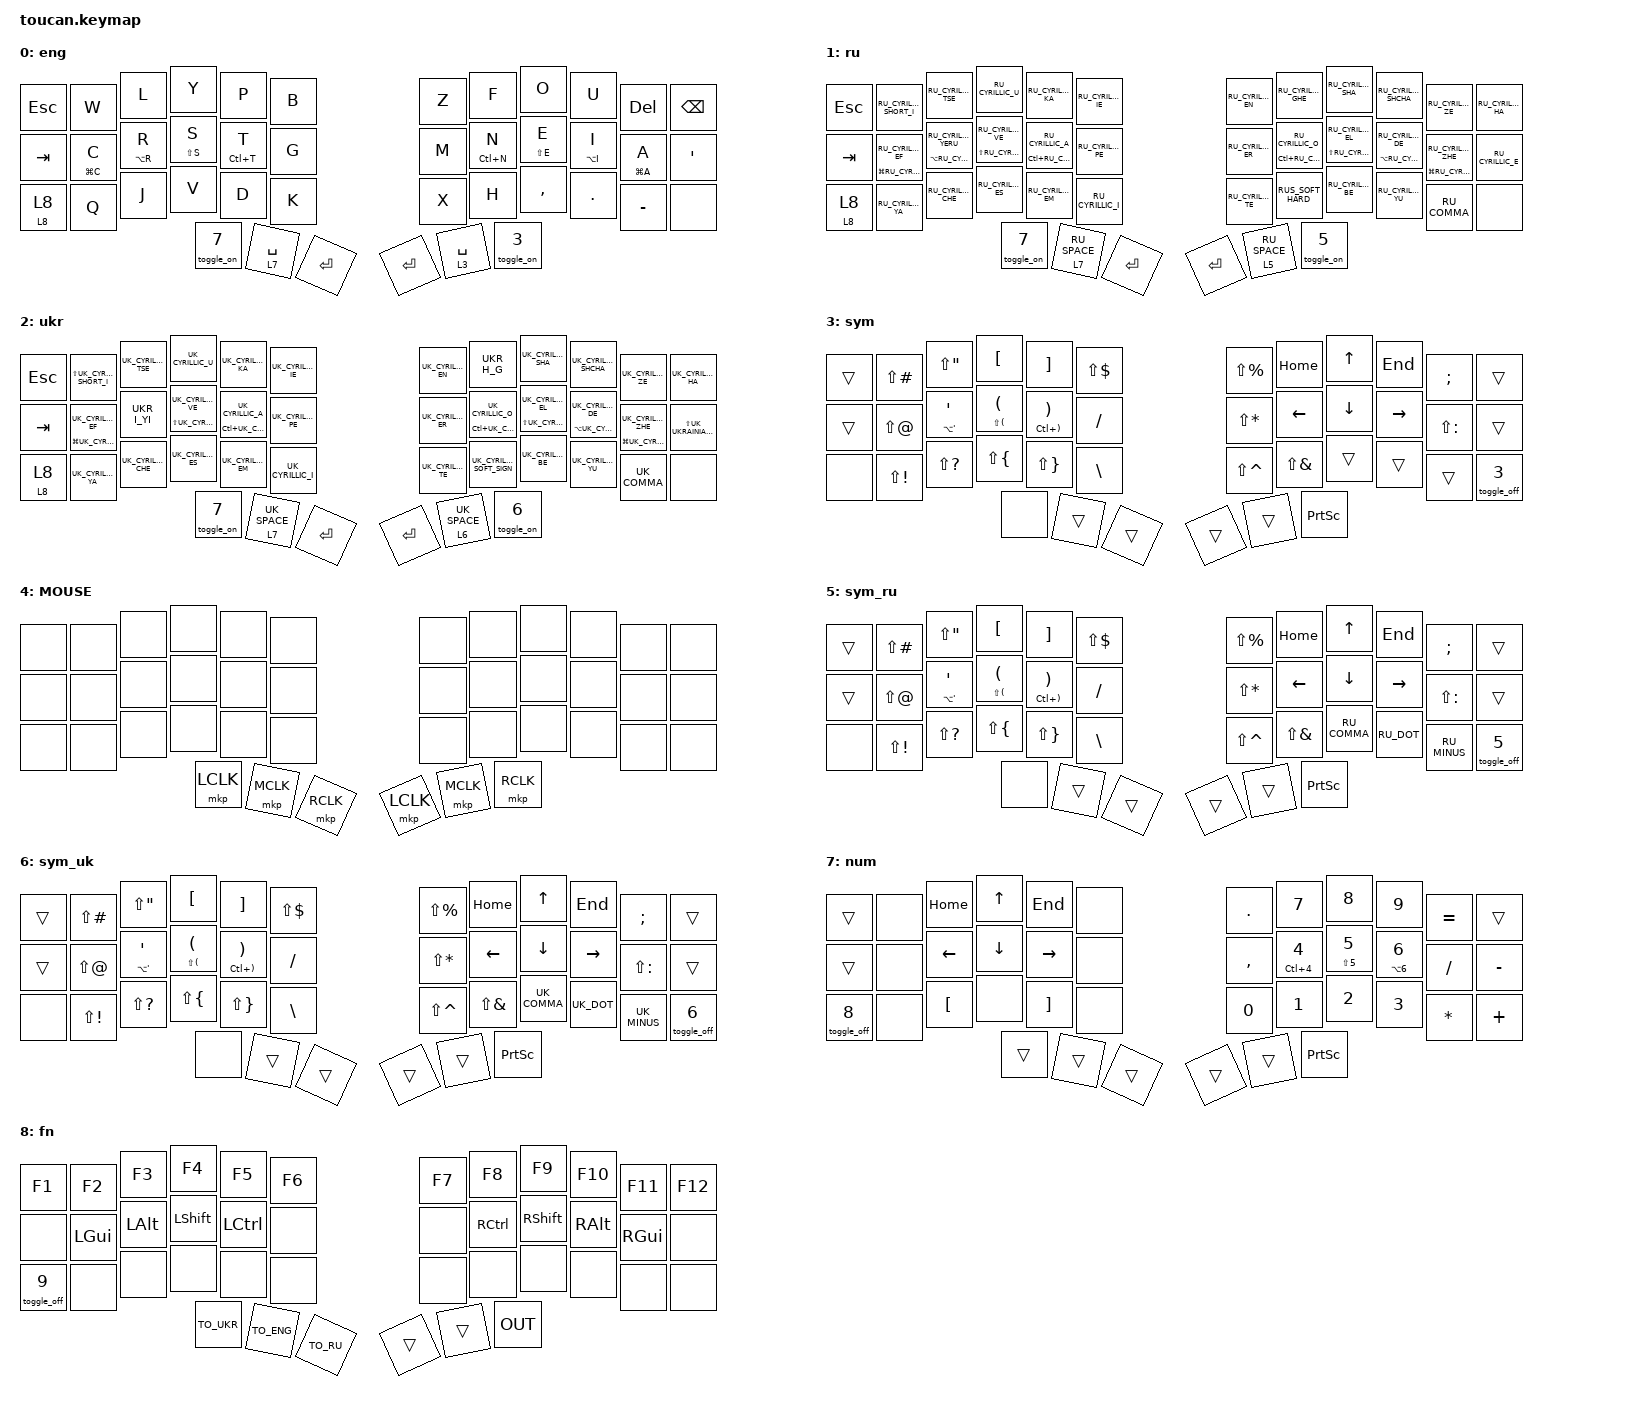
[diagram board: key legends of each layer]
#include <behaviors.dtsi>
#include <dt-bindings/zmk/keys.h>
#include <dt-bindings/zmk/pointing.h>
#include "keys_ru.h"
#include "keys_uk.h"

#define ENG 0
#define RU 1
#define UKR 2
#define SYM 3
#define MOUSE 4
#define SYM_RU 5
#define SYM_UK 6
#define NUM 7
#define FN 8

/ {
    conditional_layers { compatible = "zmk,conditional-layers"; };

    macros {
        TO_ENG: TO_ENG {
            compatible = "zmk,behavior-macro";
            #binding-cells = <0>;
            bindings =
                <&macro_press>,
                <&kp LA(LS(NUMBER_1))>,
                <&macro_release>,
                <&to 0>;

            label = "TO_ENG";
        };

        TO_RU: TO_RU {
            compatible = "zmk,behavior-macro";
            #binding-cells = <0>;
            bindings =
                <&macro_press>,
                <&kp LA(LS(NUMBER_2))>,
                <&macro_release>,
                <&to 1>;

            label = "TO_RU";
        };

        TO_UKR: TO_UKR {
            compatible = "zmk,behavior-macro";
            #binding-cells = <0>;
            bindings =
                <&macro_press>,
                <&kp LA(LS(N3))>,
                <&macro_release>,
                <&to 2>;

            label = "TO_UKR";
        };

        PASS: PASS {
            compatible = "zmk,behavior-macro";
            #binding-cells = <0>;
            bindings = <&macro_press>, <&kp LC(LA(Z))>, <&macro_release>;

            label = "PASS";
        };

        CLIPBOARD: clipboard {
            compatible = "zmk,behavior-macro";
            #binding-cells = <0>;
            bindings = <&macro_press>, <&kp LG(V)>;

            label = "CLIPBOARD";
        };

        COPY_: COPY_ {
            compatible = "zmk,behavior-macro";
            #binding-cells = <0>;
            bindings = <&kp LC(C)>;
            label = "COPY_";
        };

        PASTE: PASTE {
            compatible = "zmk,behavior-macro";
            #binding-cells = <0>;
            bindings = <&kp LC(V)>;
            label = "PASTE";
        };

        CUT_: CUT_ {
            compatible = "zmk,behavior-macro";
            #binding-cells = <0>;
            bindings = <&kp LC(X)>;
            label = "CUT_";
        };

        SELECT_ALL: SELECT_ALL {
            compatible = "zmk,behavior-macro";
            #binding-cells = <0>;
            bindings = <&kp LC(A)>;
            label = "SELECT_ALL";
        };

        SAVE: SAVE {
            compatible = "zmk,behavior-macro";
            #binding-cells = <0>;
            bindings = <&kp LC(S)>;
            label = "SAVE";
        };

        UNDO_: UNDO_ {
            compatible = "zmk,behavior-macro";
            #binding-cells = <0>;
            bindings = <&kp LC(Z)>;
            label = "UNDO_";
        };

        REDO: REDO {
            compatible = "zmk,behavior-macro";
            #binding-cells = <0>;
            bindings = <&kp LC(Y)>;
            label = "REDO";
        };

        FIND: FIND {
            compatible = "zmk,behavior-macro";
            #binding-cells = <0>;
            bindings = <&kp LC(F)>;
            label = "FIND";
        };
    };

    behaviors {
        UKR_I_YI: UKR_I_YI {
            compatible = "zmk,behavior-tap-dance";
            label = "UKR_I_YI";
            #binding-cells = <0>;
            bindings =
                <&mt LA(UK_UKRAINIAN_I) UK_UKRAINIAN_I>,
                <&kp UK_CYRILLIC_YI>;
        };

        UKR_H_G: UKR_H_G {
            compatible = "zmk,behavior-tap-dance";
            label = "UKR_H_G";
            #binding-cells = <0>;
            bindings = <&kp LS(UK_CYRILLIC_GHE)>, <&kp UK_CYRILLIC_GHE_UPTURN>;
        };

        RUS_SOFT_HARD: RUS_SOFT_HARD {
            compatible = "zmk,behavior-tap-dance";
            label = "RUS_SOFT_HARD";
            #binding-cells = <0>;
            bindings = <&kp RU_CYRILLIC_SOFT_SIGN>, <&kp RU_CYRILLIC_HARD_SIGN>;
        };

        toggle_on: toggle_on {
            compatible = "zmk,behavior-toggle-layer";
            label = "TOGGLE_ON";
            #binding-cells = <1>;
        };

        to_fn: to_fn {
            compatible = "zmk,behavior-hold-tap";
            label = "TO_FN";
            bindings = <&mo>, <&sl>;

            #binding-cells = <2>;
            tapping-term-ms = <200>;
        };

        toggle_off: toggle_off {
            compatible = "zmk,behavior-toggle-layer";
            label = "TOGGLE_OFF";
            #binding-cells = <1>;
            toggle-mode = "off";
        };
    };

    combos {
        compatible = "zmk,combos";

        combo_cyrillic_bspc {
            bindings = <&kp BSPC>;
            key-positions = <10 11>;
            layers = <1 2>;
        };

        combo_caps {
            bindings = <&caps_word>;
            key-positions = <15 20>;
            layers = <0 2 1>;
        };

        combo_password {
            bindings = <&PASS>;
            key-positions = <3 2>;
        };

        combo_clipboard {
            bindings = <&CLIPBOARD>;
            key-positions = <1 2>;
        };

        combo_pipe {
            bindings = <&kp PIPE>;
            key-positions = <29 17>;
            layers = <3>;
        };

        combo_copy {
            bindings = <&kp K_COPY>;
            key-positions = <16 15>;
            layers = <0 2 1>;
        };

        combo_paste {
            bindings = <&PASTE>;
            key-positions = <16 27>;
            layers = <0 2 1>;
        };

        combo_cut {
            bindings = <&kp K_CUT>;
            key-positions = <16 14>;
            layers = <0 1 2>;
        };

        combo_select_all {
            bindings = <&SELECT_ALL>;
            key-positions = <16 13>;
            layers = <0 2 1>;
        };

        combo_save {
            bindings = <&SAVE>;
            key-positions = <16 3>;
            layers = <0 1 2>;
        };

        combo_find {
            bindings = <&FIND>;
            key-positions = <16 2>;
            layers = <0 1 2>;
        };

        combo_undo {
            bindings = <&kp K_UNDO>;
            key-positions = <16 25>;
            layers = <0 1 2>;
        };

        combo_redo {
            bindings = <&REDO>;
            key-positions = <16 5>;
            layers = <0 1 2>;
        };
    };

    keymap {
        compatible = "zmk,keymap";

        eng {
            bindings = <
&kp ESC  &kp W  &kp L  &kp Y  &kp P  &kp B  &kp Z  &kp F  &kp O  &kp U  &kp DEL  &kp BSPC  &kp TAB  &mt LG(C) C  &mt LA(R) R  &mt LS(S) S  &mt LC(T) T  &kp G  &kp M  &mt LC(N) N  &mt LS(E) E  &mt LA(I) I  &mt LG(A) A  &kp SQT  &to_fn 8 8  &kp Q  &kp J  &kp V  &kp D  &kp K  &kp X  &kp H  &kp COMMA  &kp DOT  &kp MINUS  &none  &toggle_on 7  &lt 7 SPACE  &kp ENTER  &kp ENTER  &lt 3 SPACE  &toggle_on 3
            >;
        };

        ru {
            bindings = <
&kp ESC  &kp RU_CYRILLIC_SHORT_I  &kp RU_CYRILLIC_TSE  &kp RU_CYRILLIC_U  &kp RU_CYRILLIC_KA  &kp RU_CYRILLIC_IE  &kp RU_CYRILLIC_EN  &kp RU_CYRILLIC_GHE  &kp RU_CYRILLIC_SHA  &kp RU_CYRILLIC_SHCHA  &kp RU_CYRILLIC_ZE  &kp RU_CYRILLIC_HA  &kp TAB  &mt LG(RU_CYRILLIC_EF) RU_CYRILLIC_EF  &mt LA(RU_CYRILLIC_YERU) RU_CYRILLIC_YERU  &mt LS(RU_CYRILLIC_VE) RU_CYRILLIC_VE  &mt LC(RU_CYRILLIC_A) RU_CYRILLIC_A  &kp RU_CYRILLIC_PE  &kp RU_CYRILLIC_ER  &mt LC(RU_CYRILLIC_O) RU_CYRILLIC_O  &mt LS(RU_CYRILLIC_EL) RU_CYRILLIC_EL  &mt LA(RU_CYRILLIC_DE) RU_CYRILLIC_DE  &mt LG(RU_CYRILLIC_ZHE) RU_CYRILLIC_ZHE  &kp RU_CYRILLIC_E  &to_fn 8 8  &kp RU_CYRILLIC_YA  &kp RU_CYRILLIC_CHE  &kp RU_CYRILLIC_ES  &kp RU_CYRILLIC_EM  &kp RU_CYRILLIC_I  &kp RU_CYRILLIC_TE  &RUS_SOFT_HARD  &kp RU_CYRILLIC_BE  &kp RU_CYRILLIC_YU  &kp RU_COMMA  &none  &toggle_on 7  &lt 7 RU_SPACE  &kp ENTER  &kp ENTER  &lt 5 RU_SPACE  &toggle_on 5
            >;
        };

        ukr {
            bindings = <
&kp ESC  &kp LS(UK_CYRILLIC_SHORT_I)  &kp UK_CYRILLIC_TSE  &kp UK_CYRILLIC_U  &kp UK_CYRILLIC_KA  &kp UK_CYRILLIC_IE  &kp UK_CYRILLIC_EN  &UKR_H_G  &kp UK_CYRILLIC_SHA  &kp UK_CYRILLIC_SHCHA  &kp UK_CYRILLIC_ZE  &kp UK_CYRILLIC_HA  &kp TAB  &mt LG(UK_CYRILLIC_EF) UK_CYRILLIC_EF  &UKR_I_YI  &mt LS(UK_CYRILLIC_VE) UK_CYRILLIC_VE  &mt LC(UK_CYRILLIC_A) UK_CYRILLIC_A  &kp UK_CYRILLIC_PE  &kp UK_CYRILLIC_ER  &mt LC(UK_CYRILLIC_O) UK_CYRILLIC_O  &mt LS(UK_CYRILLIC_EL) UK_CYRILLIC_EL  &mt LA(UK_CYRILLIC_DE) UK_CYRILLIC_DE  &mt LG(UK_CYRILLIC_ZHE) UK_CYRILLIC_ZHE  &kp LS(UK_UKRAINIAN_IE)  &to_fn 8 8  &kp UK_CYRILLIC_YA  &kp UK_CYRILLIC_CHE  &kp UK_CYRILLIC_ES  &kp UK_CYRILLIC_EM  &kp UK_CYRILLIC_I  &kp UK_CYRILLIC_TE  &kp UK_CYRILLIC_SOFT_SIGN  &kp UK_CYRILLIC_BE  &kp UK_CYRILLIC_YU  &kp UK_COMMA  &none  &toggle_on 7  &lt 7 UK_SPACE  &kp ENTER  &kp ENTER  &lt 6 UK_SPACE  &toggle_on 6
            >;
        };

        sym {
            bindings = <
&trans  &kp LS(POUND)  &kp LS(DQT)  &kp LBKT  &kp RBKT  &kp LS(DLLR)  &kp LS(PRCNT)  &kp HOME  &kp UP  &kp END  &kp SEMI  &trans  &trans  &kp LS(AT)  &mt LA(SQT) SQT  &mt LS(LEFT_PARENTHESIS) LEFT_PARENTHESIS  &mt LC(RIGHT_PARENTHESIS) RIGHT_PARENTHESIS  &kp FSLH  &kp LS(STAR)  &kp LEFT  &kp DOWN  &kp RIGHT  &kp LS(COLON)  &trans  &none  &kp LS(EXCL)  &kp LS(QMARK)  &kp LS(LBRC)  &kp LS(RBRC)  &kp BSLH  &kp LS(CARET)  &kp LS(AMPS)  &trans  &trans  &trans  &toggle_off 3  &none  &trans  &trans  &trans  &trans  &kp PRINTSCREEN
            >;
        };

        MOUSE {
            bindings = <
&none  &none  &none  &none  &none  &none  &none  &none  &none  &none  &none  &none  &none  &none  &none  &none  &none  &none  &none  &none  &none  &none  &none  &none  &none  &none  &none  &none  &none  &none  &none  &none  &none  &none  &none  &none  &mkp LCLK  &mkp MCLK  &mkp RCLK  &mkp LCLK  &mkp MCLK  &mkp RCLK
            >;
        };

        sym_ru {
            bindings = <
&trans  &kp LS(POUND)  &kp LS(DQT)  &kp LBKT  &kp RBKT  &kp LS(DLLR)  &kp LS(PRCNT)  &kp HOME  &kp UP  &kp END  &kp SEMI  &trans  &trans  &kp LS(AT)  &mt LA(SQT) SQT  &mt LS(LEFT_PARENTHESIS) LEFT_PARENTHESIS  &mt LC(RIGHT_PARENTHESIS) RIGHT_PARENTHESIS  &kp FSLH  &kp LS(STAR)  &kp LEFT  &kp DOWN  &kp RIGHT  &kp LS(COLON)  &trans  &none  &kp LS(EXCL)  &kp LS(QMARK)  &kp LS(LBRC)  &kp LS(RBRC)  &kp BSLH  &kp LS(CARET)  &kp LS(AMPS)  &kp RU_COMMA  &kp RU_DOT  &kp RU_MINUS  &toggle_off 5  &none  &trans  &trans  &trans  &trans  &kp PRINTSCREEN
            >;
        };

        sym_uk {
            bindings = <
&trans  &kp LS(POUND)  &kp LS(DQT)  &kp LBKT  &kp RBKT  &kp LS(DLLR)  &kp LS(PRCNT)  &kp HOME  &kp UP  &kp END  &kp SEMI  &trans  &trans  &kp LS(AT)  &mt LA(SQT) SQT  &mt LS(LEFT_PARENTHESIS) LEFT_PARENTHESIS  &mt LC(RIGHT_PARENTHESIS) RIGHT_PARENTHESIS  &kp FSLH  &kp LS(STAR)  &kp LEFT  &kp DOWN  &kp RIGHT  &kp LS(COLON)  &trans  &none  &kp LS(EXCL)  &kp LS(QMARK)  &kp LS(LBRC)  &kp LS(RBRC)  &kp BSLH  &kp LS(CARET)  &kp LS(AMPS)  &kp UK_COMMA  &kp UK_DOT  &kp UK_MINUS  &toggle_off 6  &none  &trans  &trans  &trans  &trans  &kp PRINTSCREEN
            >;
        };

        num {
            bindings = <
&trans  &none  &kp HOME  &kp UP  &kp END  &none  &kp DOT  &kp N7  &kp N8  &kp N9  &kp EQUAL  &trans  &trans  &none  &kp LEFT  &kp DOWN  &kp RIGHT  &none  &kp COMMA  &mt LC(N4) N4  &mt LS(N5) NUMBER_5  &mt LA(N6) NUMBER_6  &kp FSLH  &kp MINUS  &toggle_off 8  &none  &kp LBKT  &none  &kp RBKT  &none  &kp N0  &kp N1  &kp N2  &kp N3  &kp STAR  &kp PLUS  &trans  &trans  &trans  &trans  &trans  &kp PRINTSCREEN
            >;
        };

        fn {
            bindings = <
&kp F1  &kp F2  &kp F3  &kp F4  &kp F5  &kp F6  &kp F7  &kp F8  &kp F9  &kp F10  &kp F11  &kp F12  &none  &kp LGUI  &kp LALT  &kp LSHFT  &kp LCTRL  &none  &none  &kp RCTRL  &kp RSHFT  &kp RALT  &kp RGUI  &none  &toggle_off 9  &none  &none  &none  &none  &none  &none  &none  &none  &none  &none  &none  &TO_UKR  &TO_ENG  &TO_RU  &trans  &trans  &kp OUT
            >;
        };
    };
};
